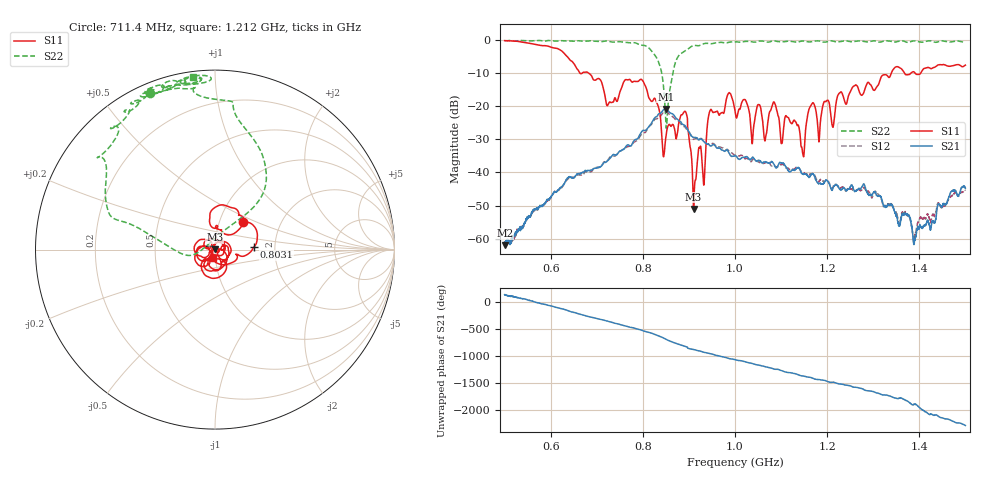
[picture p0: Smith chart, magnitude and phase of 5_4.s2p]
!Agilent Technologies,E8364B,US42250235,A.06.04.32
!Agilent E8364B: A.06.04.32
!Date: Thursday, October 01, 2020 11:13:12
!Correction: S11(Full 2 Port(1,2)) S21(Full 2 Port(1,2)) S12(Full 2 Port(1,2)) S22(Full 2 Port(1,2))
!S2P File: Measurements: S11, S21, S12, S22:
# Hz S  dB  R 50
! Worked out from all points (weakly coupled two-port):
!   2650 points, 500 MHz to 1.5 GHz, reference 50 ohm
!   highest |S21| = -20.82 dB at 849.6 MHz (marker M1); lowest = -61.9 dB at 500.4 MHz (marker M2)
!   lowest |S11| = -51.0 dB at 910 MHz (marker M3), VSWR 1.01, Z = 49.8 + j0.201 ohm
!   |S11| at or under -10 dB: 682.4 MHz to 1.339 GHz (656.7 MHz wide, 65 % of centre); 1.368 GHz to 1.382 GHz (14.05 MHz wide, 1.02 % of centre); 1.391 GHz to 1.403 GHz (12.14 MHz wide, 0.869 % of centre) (the widest 3 of 4)
!   |S22| runs from -26.6 to -0.1 dB; largest |S21 - S12| = 0.018
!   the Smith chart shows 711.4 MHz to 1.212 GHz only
!   S11 on the Smith chart (normalised r, x): 711.4 MHz: 1.30, +0.42; 803.1 MHz: 1.55, +0.05; 1.212 GHz: 0.97, -0.09
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5e8  -0.18 -175.1  -61.21 138.0  -62.25 126.6  -0.22 136.8
5.003775e8  -0.18 -175.2  -61.94 139.2  -61.45 127.0  -0.22 136.7
6.109853e8  -2.46 112.0  -45.97 -96.9  -45.85 -110.1  -0.30 127.9
6.668554e8  -10.12 79.7  -40.15 127.6  -40.70 112.9  -0.31 121.7
7.114005e8  -13.11 44.3  -37.80 33.9  -37.68 22.6  -0.47 112.6
8.031333e8  -13.24 3.9  -27.25 179.6  -27.93 170.6  -1.63 83.3
8.337108e8  -20.15 -59.2  -22.39 95.1  -23.22 83.1  -6.52 52.9
8.495659e8  -29.75 92.6  -20.82 33.5  -21.52 23.0  -24.21 90.4
8.91846e8  -21.53 -33.3  -25.91 -101.7  -26.36 -110.7  -3.22 152.3
9.09966e8  -50.97 134.5  -29.43 -158.4  -29.99 -150.5  -1.63 141.5
9.329936e8  -43.07 178.6  -30.71 148.9  -30.60 158.8  -1.08 129.0
9.462061e8  -21.22 8.9  -31.91 123.8  -31.35 136.7  -1.10 128.7
1.000189e9  -21.55 -137.8  -34.99 13.2  -34.74 20.8  -0.51 119.7
1.051906e9  -19.49 -164.8  -36.31 -89.6  -36.88 -80.0  -0.35 107.6
1.065874e9  -30.01 -159.1  -36.76 -117.3  -37.05 -103.6  -0.48 112.6
1.085126e9  -18.78 168.1  -37.63 -162.3  -37.84 -144.1  -0.25 106.2
1.147037e9  -34.32 -43.9  -40.47 71.9  -39.92 88.0  -0.27 97.8
1.166667e9  -19.32 -69.6  -40.42 37.5  -40.37 51.7  -0.51 95.6
1.211589e9  -26.08 -103.9  -45.13 -42.5  -44.72 -28.6  -0.27 97.3
1.333522e9  -11.27 -146.6  -49.65 67.9  -49.48 84.8  -0.26 83.7
1.38977e9  -9.81 177.3  -60.53 -85.6  -59.05 -56.6  -0.27 75.7
1.5e9  -7.58 142.2  -44.69 -124.9  -45.42 -98.1  -0.63 61.2
